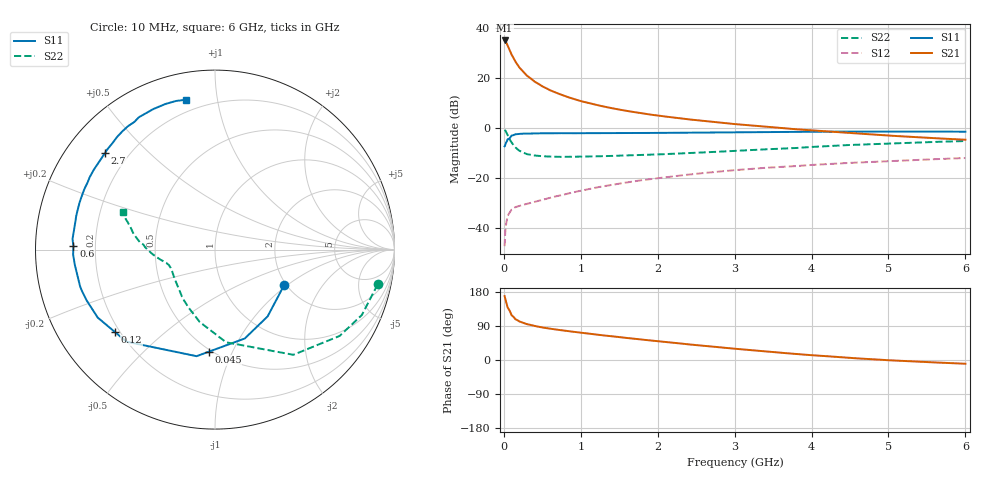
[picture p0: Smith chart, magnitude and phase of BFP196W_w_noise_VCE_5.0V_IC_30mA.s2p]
! Infineon Technologies  Discrete & RF Semiconductors
! BFP196W
! VCE = 5.0 V,  IC =  30mA
! Common Emitter S-Parameters:  Jan 2016
# GHz  S  MA  R  50
!  f  S11  S21  S12  S22
! GHz  MAG  ANG  MAG  ANG  MAG  ANG  MAG  ANG
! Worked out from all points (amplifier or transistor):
!   210 points, 10 MHz to 6 GHz, reference 50 ohm
!   highest |S21| = 35.2 dB at 10 MHz (marker M1)
!   |S21| within 3 dB of that: start of sweep to 63.52 MHz
!   unconditionally stable (mu >= 1): 785.5 MHz to 3.361 GHz
!   at 185 MHz: K = 0.41, MSG = 28.3 dB, |S12| = -31.3 dB
!   at 1.52 GHz: K = 1.12, MAG = 12.7 dB, |S12| = -22.1 dB
!   at 6 GHz: K = 0.95, MSG = 3.7 dB, |S12| = -12.0 dB
!   lowest NFmin = 1.40 dB at 500 MHz
!   S11 on the Smith chart (normalised r, x): 10 MHz: 1.96, -0.94; 45 MHz: 0.48, -0.81; 120 MHz: 0.18, -0.35; 600 MHz: 0.12, +0.01; 2.7 GHz: 0.12, +0.37; 6 GHz: 0.14, +0.82
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0.01  0.4333 -26.9  57.55 168.6  0.0043 80.1  0.9267 -12.1
0.02  0.4738 -51.8  56.23 160.6  0.0089 70.5  0.8957 -24.0
0.03  0.5224 -71.5  53.1 152.3  0.012 66.7  0.8449 -34.7
0.045  0.5703 -93.6  46.92 142.1  0.0161 56.2  0.7515 -48.2
0.05  0.6026 -99.8  45.25 138.1  0.0175 53.8  0.731 -53.3
0.1  0.7118 -133.9  30.04 118.3  0.0233 39.4  0.5199 -83.2
0.12  0.7223 -140.5  26.57 114.9  0.0244 37.6  0.4711 -89.6
0.15  0.7552 -149.9  21.63 107.7  0.0261 35.1  0.4122 -101.9
0.2  0.769 -158.3  16.64 101.9  0.0275 34.9  0.3547 -114.6
0.26  0.779 -164.8  13.12 97.1  0.0293 35.7  0.3206 -124.9
0.3  0.7794 -167.8  11.33 94.6  0.0303 36.7  0.302 -130.7
0.4  0.7857 -173.9  8.589 89.7  0.0333 40.3  0.2835 -140.1
0.6  0.7888 178.6  5.777 82.6  0.0402 46.3  0.2691 -151.1
0.8  0.7932 173.1  4.359 77.1  0.0477 50.8  0.2663 -156.4
1.02  0.7933 168.5  3.435 71.6  0.0566 53.7  0.2688 -160.1
1.4  0.7988 161.1  2.527 62.6  0.0729 55.9  0.2777 -163.6
2.02  0.8062 150.1  1.777 49.2  0.1005 55.2  0.2983 -167.9
2.7  0.8158 138.7  1.347 35.6  0.1305 51.7  0.3324 -173.3
3.1  0.827 132.5  1.176 28.1  0.1479 48.7  0.3567 -177.1
4.1  0.8508 118.7  0.887 11.4  0.1868 41.1  0.4282 173.3
5.1  0.8565 108.0  0.697 -1.5  0.2215 33.5  0.4986 163.8
6  0.8506 100.8  0.587 -9.9  0.2523 27.3  0.5527 157.8
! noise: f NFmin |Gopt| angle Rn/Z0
0.5  1.4  0.4  -173  0.08
0.9  1.6  0.5  -166  0.08
1.5  2.4  0.61  -150  0.14
2  2.9  0.71  -129  0.2
